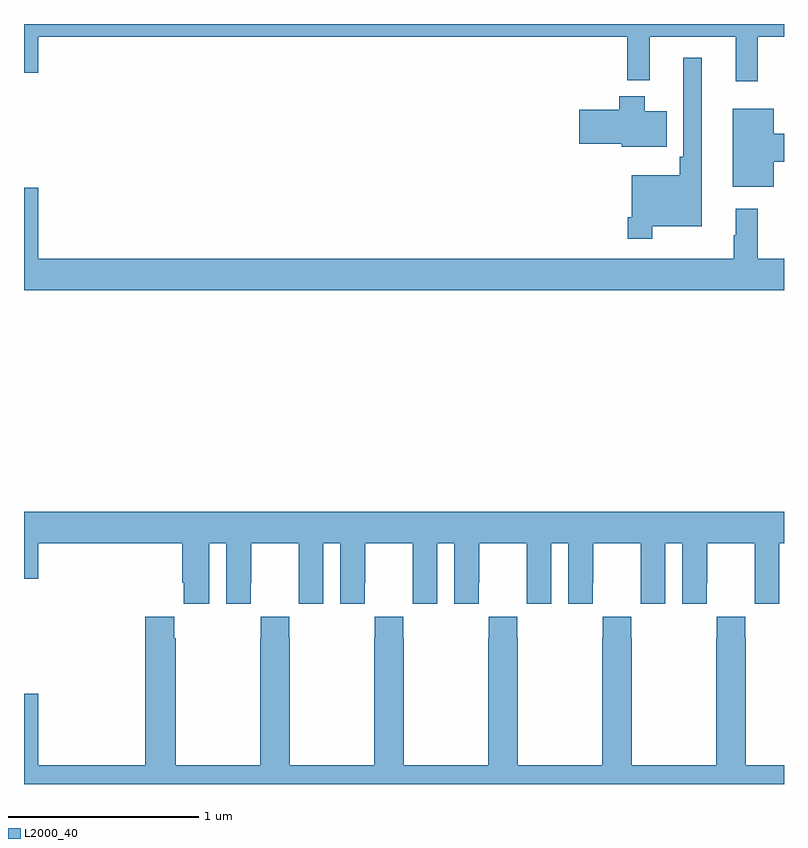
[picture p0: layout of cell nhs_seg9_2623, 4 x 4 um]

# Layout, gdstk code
import gdstk
lib = gdstk.Library(unit=1e-6, precision=1e-09)
def P(c, l, *ps):  # polygons
    for p in ps: c.add(gdstk.Polygon(p, *l))
L2000_40 = (2000, 40)

nhs_seg9_2623 = lib.new_cell('nhs_seg9_2623')
P(nhs_seg9_2623, L2000_40, [(264.863,1184.432),(265,1184.432),(265,1184.5),(261,1184.5),(261,1184.244),(261.076,1184.244),(261.076,1184.432),(264.175,1184.432),(264.175,1184.204),(264.293,1184.204),(264.293,1184.432),(264.746,1184.432),(264.746,1184.199),(264.863,1184.199)],
  [(264.307,1183.436),(264.568,1183.436),(264.568,1184.323),(264.471,1184.323),(264.471,1183.801),(264.451,1183.801),(264.451,1183.705),(264.198,1183.705),(264.198,1183.483),(264.178,1183.483),(264.178,1183.371),(264.307,1183.371)],
  [(264.382,1184.041),(264.268,1184.041),(264.268,1184.119),(264.134,1184.119),(264.134,1184.049),(263.922,1184.049),(263.922,1183.871),(264.146,1183.871),(264.146,1183.853),(264.382,1183.853)],
  [(264.946,1183.775),(265,1183.775),(265,1183.922),(264.946,1183.922),(264.946,1184.053),(264.731,1184.053),(264.731,1183.643),(264.946,1183.643)],
  [(265,1183.264),(264.863,1183.264),(264.863,1183.528),(264.746,1183.528),(264.746,1183.388),(264.735,1183.388),(264.735,1183.264),(261.076,1183.264),(261.076,1183.639),(261,1183.639),(261,1183.1),(265,1183.1)],
  [(261.976,1181.768),(262.064,1181.768),(262.064,1181.448),(262.194,1181.448),(262.194,1181.56),(262.195,1181.56),(262.195,1181.768),(262.445,1181.768),(262.445,1181.56),(262.446,1181.56),(262.446,1181.448),(262.576,1181.448),(262.576,1181.768),(262.664,1181.768),(262.664,1181.448),(262.794,1181.448),(262.794,1181.56),(262.795,1181.56),(262.795,1181.768),(263.045,1181.768),(263.045,1181.56),(263.046,1181.56),(263.046,1181.448),(263.176,1181.448),(263.176,1181.768),(263.264,1181.768),(263.264,1181.448),(263.394,1181.448),(263.394,1181.56),(263.395,1181.56),(263.395,1181.768),(263.645,1181.768),(263.645,1181.56),(263.646,1181.56),(263.646,1181.448),(263.776,1181.448),(263.776,1181.768),(263.864,1181.768),(263.864,1181.448),(263.994,1181.448),(263.994,1181.56),(263.995,1181.56),(263.995,1181.768),(264.245,1181.768),(264.245,1181.56),(264.246,1181.56),(264.246,1181.448),(264.376,1181.448),(264.376,1181.768),(264.464,1181.768),(264.464,1181.448),(264.594,1181.448),(264.594,1181.56),(264.595,1181.56),(264.595,1181.768),(264.845,1181.768),(264.845,1181.56),(264.846,1181.56),(264.846,1181.448),(264.976,1181.448),(264.976,1181.768),(265,1181.768),(265,1181.932),(261,1181.932),(261,1181.58),(261.076,1181.58),(261.076,1181.768),(261.833,1181.768),(261.833,1181.56),(261.842,1181.56),(261.842,1181.448),(261.976,1181.448)],
  [(265,1180.6),(264.798,1180.6),(264.798,1181.267),(264.795,1181.267),(264.795,1181.38),(264.645,1181.38),(264.645,1181.267),(264.643,1181.267),(264.643,1180.6),(264.198,1180.6),(264.198,1181.267),(264.195,1181.267),(264.195,1181.38),(264.045,1181.38),(264.045,1181.267),(264.043,1181.267),(264.043,1180.6),(263.598,1180.6),(263.598,1181.267),(263.595,1181.267),(263.595,1181.38),(263.445,1181.38),(263.445,1181.267),(263.443,1181.267),(263.443,1180.6),(262.998,1180.6),(262.998,1181.267),(262.995,1181.267),(262.995,1181.38),(262.845,1181.38),(262.845,1181.267),(262.843,1181.267),(262.843,1180.6),(262.398,1180.6),(262.398,1181.267),(262.395,1181.267),(262.395,1181.38),(262.245,1181.38),(262.245,1181.267),(262.243,1181.267),(262.243,1180.6),(261.798,1180.6),(261.798,1181.267),(261.791,1181.267),(261.791,1181.38),(261.638,1181.38),(261.638,1180.6),(261.076,1180.6),(261.076,1180.975),(261,1180.975),(261,1180.5),(265,1180.5)])

lib.write_gds('nhs_seg9_2623.gds')
